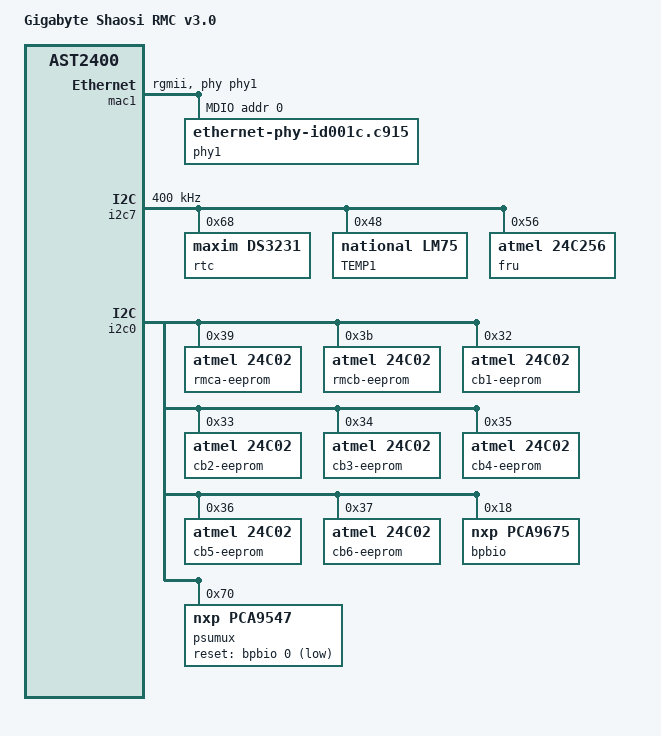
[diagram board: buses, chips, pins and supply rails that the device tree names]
/dts-v1/;
/plugin/;

#include <dt-bindings/gpio/gpio.h>
#include <dt-bindings/gpio/aspeed-gpio.h>

/ {
	compatible = "aspeed,ast2400";

	fragment@0 {
		target-path = "/";
		__overlay__ {
			model = "Gigabyte Shaosi RMC v3.0";
		};
	};

	fragment@1 {
		target = <&mac1>;
		__overlay__ {
			status = "okay";

			no-hw-checksum;
			phy-handle = <&phy1>;
			phy-mode = "rgmii";
			pinctrl-names = "default";
			pinctrl-0 = <&pinctrl_rgmii2_default &pinctrl_mdio2_default>;

			mdio {
				phy1: phy@0 {
					compatible = "ethernet-phy-id001c.c915";
					reg = <0>;
				};
			};
		};
	};

#if 0
	fragment@2 {
		target = <&i2c0>;
		__overlay__ {
			status = "okay";
			clock-frequency = <100000>;
			ipmb@1 {
				compatible = "i2c-ipmb";
				reg = <0x31>;
				slave-addr = <0x39>;
			};
		};
	};
#endif

	fragment@2 {
		target = <&i2c7>;
		__overlay__ {
			status = "okay";
			clock-frequency = <400000>;
			rtc@68 {
				compatible = "maxim,ds3231";
				reg = <0x68>;
				// interrupts = <GPIOF0>
			};

			tmp {
				label = "TEMP1";
				compatible = "national,lm75";
				reg = <0x48>;
			};
			fru {
				compatible = "atmel,24c256";
				reg = <0x56>;
				// pagesize = <32>;
			};
		};
	};
	fragment@3 {
		target = <&i2c0>;
		__overlay__ {
			status = "okay";
			/* RMCs virtual eeproms */
			rmca-eeprom {
				compatible = "atmel,24c02";
				reg = <0x39>;
			};
			rmcb-eeprom {
				compatible = "atmel,24c02";
				reg = <0x3b>;
			};
			/* CBs virtual eeproms */
			cb1-eeprom {
				compatible = "atmel,24c02";
				reg = <0x32>;
			};
			cb2-eeprom {
				compatible = "atmel,24c02";
				reg = <0x33>;
			};
			cb3-eeprom {
				compatible = "atmel,24c02";
				reg = <0x34>;
			};
			cb4-eeprom {
				compatible = "atmel,24c02";
				reg = <0x35>;
			};
			cb5-eeprom {
				compatible = "atmel,24c02";
				reg = <0x36>;
			};
			cb6-eeprom {
				compatible = "atmel,24c02";
				reg = <0x37>;
			};
		};
	};
	fragment@4 {
		target = <&i2c0>;
		__overlay__ {
			status = "okay";
			bpbio: gpio-expander@18 {
				compatible = "nxp,pca9675";
				gpio-controller;
				#gpio-cells = <2>;
				reg = <0x18>;
				lines-initial-states = <0x1>;
			};
			psumux@70 {
				compatible = "nxp,pca9547";
				#address-cells = <1>;
				#size-cells = <0>;
				reg = <0x70>;
				reset-gpios = <&bpbio 0 GPIO_ACTIVE_LOW>;
				i2c-mux-idle-disconnect = <0xff>;
				shelf@0 {
					#address-cells = <1>;
					#size-cells = <0>;
					reg = <0>;
					fru {
						compatible = "atmel,24c02";
						reg = <0x50>;
					};
				};
				shelf@1 {
					#address-cells = <1>;
					#size-cells = <0>;
					reg = <1>;
					fru {
						compatible = "atmel,24c02";
						reg = <0x50>;
					};
				};
				shelf@2 {
					#address-cells = <1>;
					#size-cells = <0>;
					reg = <2>;
					fru {
						compatible = "atmel,24c02";
						reg = <0x50>;
					};
				};
				shelf@3 {
					#address-cells = <1>;
					#size-cells = <0>;
					reg = <3>;
					fru {
						compatible = "atmel,24c02";
						reg = <0x50>;
					};
				};
				shelf@4 {
					#address-cells = <1>;
					#size-cells = <0>;
					reg = <4>;
					fru {
						compatible = "atmel,24c02";
						reg = <0x50>;
					};
				};
				shelf@5 {
					#address-cells = <1>;
					#size-cells = <0>;
					reg = <5>;
					fru {
						compatible = "atmel,24c02";
						reg = <0x50>;
					};
				};

			};
		};
	};

};
